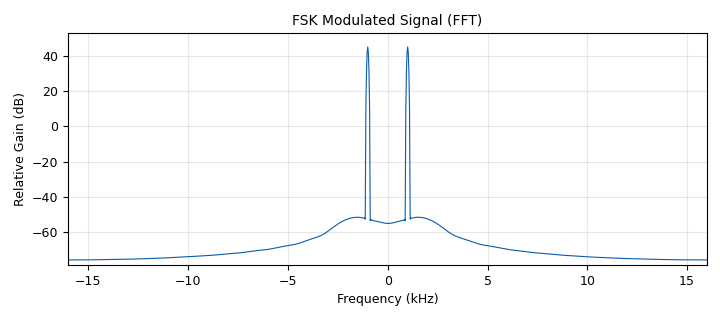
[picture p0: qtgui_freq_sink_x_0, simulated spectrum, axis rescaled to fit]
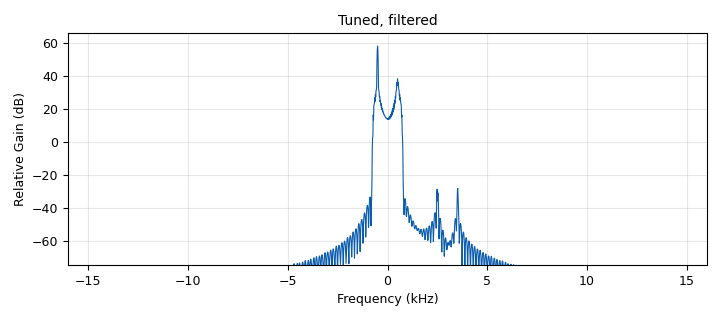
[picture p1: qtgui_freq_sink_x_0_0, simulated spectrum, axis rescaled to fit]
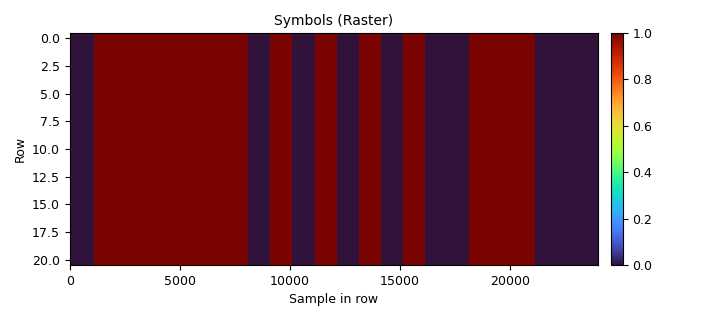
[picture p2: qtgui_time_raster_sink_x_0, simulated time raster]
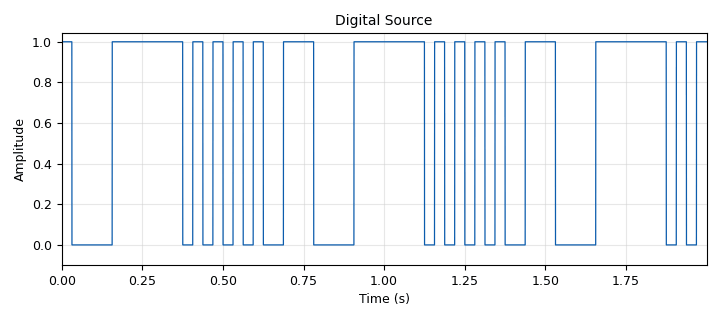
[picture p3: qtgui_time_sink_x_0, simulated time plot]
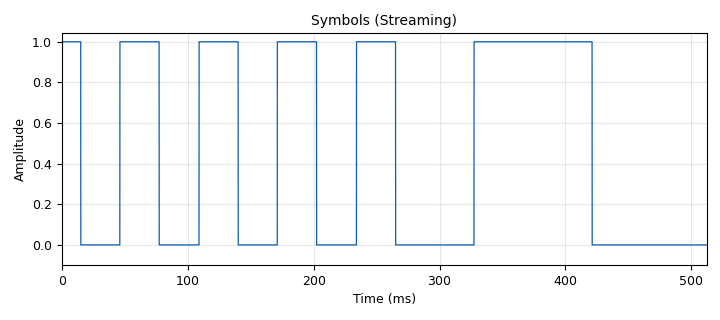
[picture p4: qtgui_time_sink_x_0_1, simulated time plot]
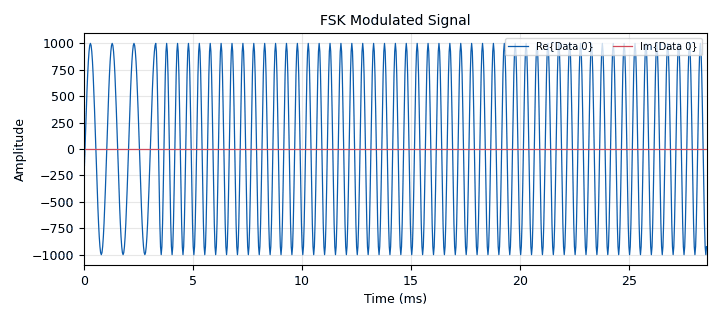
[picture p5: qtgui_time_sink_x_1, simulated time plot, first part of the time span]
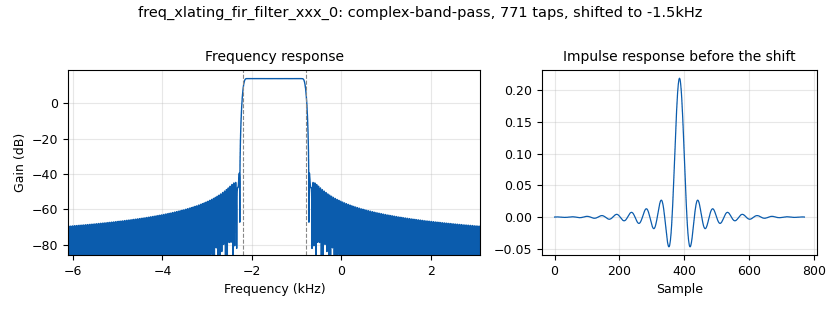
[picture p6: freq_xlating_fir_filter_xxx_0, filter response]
options:
  parameters:
    author: sneak
    generate_options: qt_gui
    id: FSK
    output_language: python
    title: FSK
  states: {}

blocks:
- name: demod_symbol_repeat
  id: variable_qtgui_entry
  parameters:
    gui_hint: 'tab@1: 0, 1, 1, 1'
    label: demod_symbol_repeat
    type: int
    value: '1000'
  states: {}
- name: fir_taps
  id: variable_band_pass_filter_taps
  parameters:
    gain: '5'
    high_cutoff_freq: '700'
    low_cutoff_freq: '-700'
    samp_rate: samp_rate
    type: complex_band_pass
    width: '100'
    win: window.WIN_HAMMING
  states: {}
- name: fsk_deviation_hz
  id: variable
  parameters:
    value: '1000'
  states: {}
- name: gain
  id: variable
  parameters:
    value: '1000'
  states: {}
- name: samp_rate
  id: variable
  parameters:
    value: '32000'
  states: {}
- name: src_bits
  id: variable
  parameters:
    value: (1,1,1,1,0,1,0,1,0,1,0,1,0,0,1,1,1,0,0,0,0,1,1,1)
  states: {}
- name: analog_const_source_x_0
  id: analog_const_source_x
  parameters:
    const: '0'
    type: float
  states: {}
- name: analog_const_source_x_0_0
  id: analog_const_source_x
  parameters:
    const: '1'
    type: float
  states: {}
- name: analog_quadrature_demod_cf_0
  id: analog_quadrature_demod_cf
  parameters:
    gain: samp_rate/(2*math.pi*fsk_deviation_hz)
  states: {}
- name: analog_sig_source_x_0_0
  id: analog_sig_source_x
  parameters:
    amp: gain
    freq: '1000'
    offset: '0'
    phase: '0'
    samp_rate: samp_rate
    type: float
    waveform: analog.GR_COS_WAVE
  states: {}
- name: analog_sig_source_x_0_0_0
  id: analog_sig_source_x
  parameters:
    amp: gain
    freq: '2000'
    offset: '0'
    phase: '0'
    samp_rate: samp_rate
    type: float
    waveform: analog.GR_COS_WAVE
  states: {}
- name: blocks_add_const_vxx_0
  id: blocks_add_const_vxx
  parameters:
    const: '48'
    type: byte
  states: {}
- name: blocks_add_xx_0
  id: blocks_add_xx
  parameters:
    type: float
  states: {}
- name: blocks_char_to_float_0
  id: blocks_char_to_float
  parameters:
    scale: '1'
  states: {}
- name: blocks_file_sink_0
  id: blocks_file_sink
  parameters:
    file: C:\Users\Jonathan\OneDrive\Desktop\demod-bits.txt
    type: byte
  states: {}
- name: blocks_float_to_complex_0
  id: blocks_float_to_complex
  parameters: {}
  states: {}
- name: blocks_head_0
  id: blocks_head
  parameters:
    num_items: len(src_bits)
    type: byte
  states: {}
- name: blocks_keep_one_in_n_0
  id: blocks_keep_one_in_n
  parameters:
    n: demod_symbol_repeat
    type: byte
  states: {}
- name: blocks_multiply_xx_0_0
  id: blocks_multiply_xx
  parameters:
    type: float
  states: {}
- name: blocks_multiply_xx_0_0_0
  id: blocks_multiply_xx
  parameters:
    type: float
  states: {}
- name: blocks_repeat_0
  id: blocks_repeat
  parameters:
    interp: '1000'
    type: float
  states: {}
- name: blocks_sub_xx_0
  id: blocks_sub_xx
  parameters:
    type: float
  states: {}
- name: blocks_throttle2_0
  id: blocks_throttle2
  parameters:
    samples_per_second: samp_rate
    type: float
  states: {}
- name: blocks_vector_source_x_0
  id: blocks_vector_source_x
  parameters:
    repeat: 'True'
    type: float
    vector: src_bits
  states: {}
- name: digital_binary_slicer_fb_0_0
  id: digital_binary_slicer_fb
  parameters: {}
  states: {}
- name: freq_xlating_fir_filter_xxx_0
  id: freq_xlating_fir_filter_xxx
  parameters:
    center_freq: '-1500'
    decim: '1'
    samp_rate: samp_rate
    taps: fir_taps
    type: ccc
  states: {}
- name: note_0
  id: note
  parameters:
    note: high = 1 kHz, low = 2 kHz
  states: {}
- name: qtgui_freq_sink_x_0
  id: qtgui_freq_sink_x
  parameters:
    bw: samp_rate
    fc: '0'
    fftsize: '1024'
    gui_hint: tab@0
    name: FSK Modulated Signal (FFT)
    type: complex
  states: {}
- name: qtgui_freq_sink_x_0_0
  id: qtgui_freq_sink_x
  parameters:
    bw: samp_rate
    fc: '0'
    fftsize: '2048'
    gui_hint: 'tab@1: 1, 0, 1, 2'
    name: Tuned, filtered
    type: complex
  states: {}
- name: qtgui_time_raster_sink_x_0
  id: qtgui_time_raster_sink_x
  parameters:
    gui_hint: 'tab@1: 4, 0, 1, 2'
    name: Symbols (Raster)
    ncols: len(src_bits)*demod_symbol_repeat
    nrows: '256'
    samp_rate: samp_rate
    type: byte
    x_end_value: len(src_bits)
    zmin: '0'
  states: {}
- name: qtgui_time_sink_x_0
  id: qtgui_time_sink_x
  parameters:
    gui_hint: tab@0
    name: Digital Source
    size: '64000'
    srate: samp_rate
    tr_delay: '100e-6'
    type: float
    ymin: '-0.1'
  states: {}
- name: qtgui_time_sink_x_0_1
  id: qtgui_time_sink_x
  parameters:
    gui_hint: 'tab@1: 3, 0, 1, 2'
    name: Symbols (Streaming)
    size: '16384'
    srate: samp_rate
    tr_delay: '100e-6'
    type: float
    ymin: '-0.1'
  states: {}
- name: qtgui_time_sink_x_1
  id: qtgui_time_sink_x
  parameters:
    gui_hint: tab@0
    name: FSK Modulated Signal
    size: '16384'
    srate: samp_rate
    tr_delay: '0.1e-3'
    tr_level: '500'
    tr_mode: qtgui.TRIG_MODE_AUTO
    type: complex
    ymax: '1100'
    ymin: '-1100'
  states: {}
- name: tab
  id: qtgui_tab_widget
  parameters:
    label0: D/A
    label1: A/D
    num_tabs: '2'
  states: {}
- name: virtual_sink_0
  id: virtual_sink
  parameters:
    stream_id: fsk_mod_source
  states: {}
- name: virtual_sink_1
  id: virtual_sink
  parameters:
    stream_id: baseband
  states: {}
- name: virtual_sink_1_0
  id: virtual_sink
  parameters:
    stream_id: repeated_bits
  states: {}
- name: virtual_sink_2
  id: virtual_sink
  parameters:
    stream_id: demod_bits
  states: {}
- name: virtual_source_0
  id: virtual_source
  parameters:
    stream_id: fsk_mod_source
  states: {}
- name: virtual_source_1
  id: virtual_source
  parameters:
    stream_id: baseband
  states: {}
- name: virtual_source_2
  id: virtual_source
  parameters:
    stream_id: repeated_bits
  states: {}
- name: virtual_source_2_0
  id: virtual_source
  parameters:
    stream_id: repeated_bits
  states: {}
- name: virtual_source_3
  id: virtual_source
  parameters:
    stream_id: demod_bits
  states: {}

connections:
- [analog_const_source_x_0, '0', blocks_float_to_complex_0, '1']
- [analog_const_source_x_0_0, '0', blocks_sub_xx_0, '0']
- [analog_quadrature_demod_cf_0, '0', digital_binary_slicer_fb_0_0, '0']
- [analog_sig_source_x_0_0, '0', blocks_multiply_xx_0_0, '1']
- [analog_sig_source_x_0_0_0, '0', blocks_multiply_xx_0_0_0, '1']
- [blocks_add_const_vxx_0, '0', blocks_file_sink_0, '0']
- [blocks_add_xx_0, '0', virtual_sink_1, '0']
- [blocks_char_to_float_0, '0', qtgui_time_sink_x_0_1, '0']
- [blocks_float_to_complex_0, '0', qtgui_freq_sink_x_0, '0']
- [blocks_float_to_complex_0, '0', qtgui_time_sink_x_1, '0']
- [blocks_float_to_complex_0, '0', virtual_sink_0, '0']
- [blocks_head_0, '0', blocks_add_const_vxx_0, '0']
- [blocks_keep_one_in_n_0, '0', blocks_head_0, '0']
- [blocks_multiply_xx_0_0, '0', blocks_add_xx_0, '0']
- [blocks_multiply_xx_0_0_0, '0', blocks_add_xx_0, '1']
- [blocks_repeat_0, '0', qtgui_time_sink_x_0, '0']
- [blocks_repeat_0, '0', virtual_sink_1_0, '0']
- [blocks_sub_xx_0, '0', blocks_multiply_xx_0_0_0, '0']
- [blocks_vector_source_x_0, '0', blocks_repeat_0, '0']
- [blocks_vector_source_x_0, '0', blocks_throttle2_0, '0']
- [digital_binary_slicer_fb_0_0, '0', virtual_sink_2, '0']
- [freq_xlating_fir_filter_xxx_0, '0', analog_quadrature_demod_cf_0, '0']
- [freq_xlating_fir_filter_xxx_0, '0', qtgui_freq_sink_x_0_0, '0']
- [virtual_source_0, '0', freq_xlating_fir_filter_xxx_0, '0']
- [virtual_source_1, '0', blocks_float_to_complex_0, '0']
- [virtual_source_2, '0', blocks_multiply_xx_0_0, '0']
- [virtual_source_2_0, '0', blocks_sub_xx_0, '1']
- [virtual_source_3, '0', blocks_char_to_float_0, '0']
- [virtual_source_3, '0', blocks_keep_one_in_n_0, '0']
- [virtual_source_3, '0', qtgui_time_raster_sink_x_0, '0']

metadata:
  file_format: 1
  grc_version: 3.10.7.0
